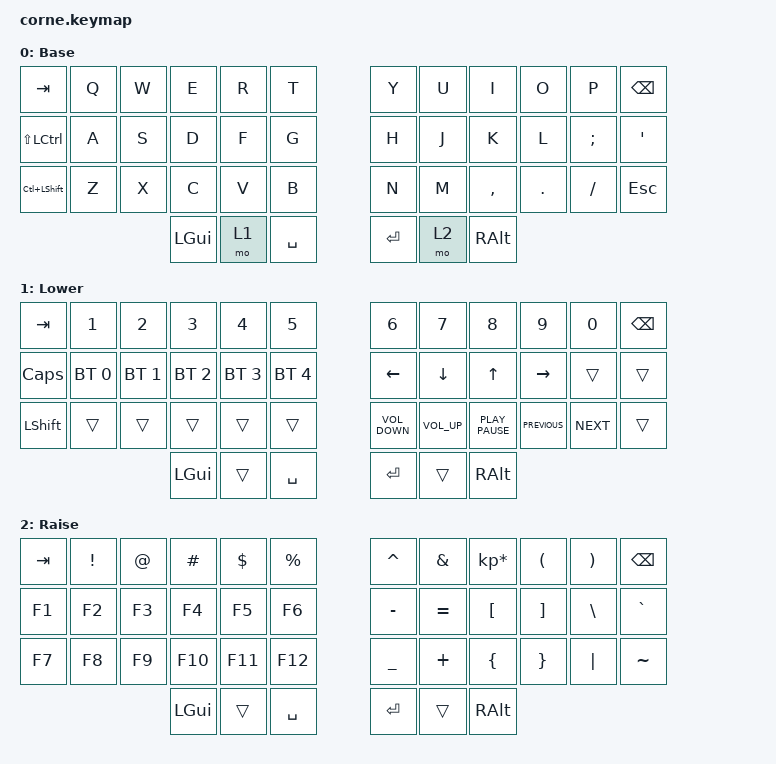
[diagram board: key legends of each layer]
/*
 * Copyright (c) 2020 The ZMK Contributors
 *
 * SPDX-License-Identifier: MIT
 */

#include <behaviors.dtsi>
#include <dt-bindings/zmk/bt.h>
#include <dt-bindings/zmk/keys.h>

/ {
    keymap {
        compatible = "zmk,keymap";

        default_layer {
            // -----------------------------------------------------------------------------------------
            // |  TAB |  Q  |  W  |  E  |  R  |  T  |   |  Y  |  U   |  I  |  O  |  P  | BKSP |
            // | CTRL |  A  |  S  |  D  |  F  |  G  |   |  H  |  J   |  K  |  L  |  ;  |  '   |
            // | SHFT |  Z  |  X  |  C  |  V  |  B  |   |  N  |  M   |  ,  |  .  |  /  | ESC  |
            //                    | GUI | LWR | SPC |   | ENT | RSE  | ALT |

            display-name = "Base";
            bindings = <
&kp TAB        &kp Q  &kp W  &kp E     &kp R  &kp T        &kp Y    &kp U  &kp I      &kp O    &kp P     &kp BSPC
&kp LS(LCTRL)  &kp A  &kp S  &kp D     &kp F  &kp G        &kp H    &kp J  &kp K      &kp L    &kp SEMI  &kp SQT
&kp LC(LSHFT)  &kp Z  &kp X  &kp C     &kp V  &kp B        &kp N    &kp M  &kp COMMA  &kp DOT  &kp FSLH  &kp ESC
                             &kp LGUI  &mo 1  &kp SPACE    &kp RET  &mo 2  &kp RALT
            >;
        };

        lower_layer {
            // -----------------------------------------------------------------------------------------
            // |  TAB |  1  |  2  |  3  |  4  |  5  |   |  6  |  7  |  8  |  9  |  0  | BKSP |
            // | BTCLR| BT1 | BT2 | BT3 | BT4 | BT5 |   | LFT | DWN |  UP | RGT |     |      |
            // | SHFT |     |     |     |     |     |   |     |     |     |     |     |      |
            //                    | GUI |     | SPC |   | ENT |     | ALT |

            display-name = "Lower";
            bindings = <
&kp TAB    &kp N1        &kp N2        &kp N3        &kp N4        &kp N5          &kp N6             &kp N7           &kp N8            &kp N9          &kp N0      &kp BSPC
&kp CAPS   &bt BT_SEL 0  &bt BT_SEL 1  &bt BT_SEL 2  &bt BT_SEL 3  &bt BT_SEL 4    &kp LEFT           &kp DOWN         &kp UP            &kp RIGHT       &trans      &trans
&kp LSHFT  &trans        &trans        &trans        &trans        &trans          &kp K_VOLUME_DOWN  &kp C_VOLUME_UP  &kp K_PLAY_PAUSE  &kp C_PREVIOUS  &kp C_NEXT  &trans
                                       &kp LGUI      &trans        &kp SPACE       &kp RET            &trans           &kp RALT
            >;
        };

        raise_layer {
            // -----------------------------------------------------------------------------------------
            // |  TAB |  !  |  @  |  #  |  $  |  %  |   |  ^  |  &  |  *  |  (  |  )  | BKSP |
            // | CTRL |     |     |     |     |     |   |  -  |  =  |  [  |  ]  |  \  |  `   |
            // | SHFT |     |     |     |     |     |   |  _  |  +  |  {  |  }  | "|" |  ~   |
            //                    | GUI |     | SPC |   | ENT |     | ALT |

            display-name = "Raise";
            bindings = <
&kp TAB  &kp EXCL  &kp AT  &kp HASH  &kp DLLR  &kp PRCNT    &kp CARET  &kp AMPS   &kp KP_MULTIPLY  &kp LPAR  &kp RPAR  &kp BSPC
&kp F1   &kp F2    &kp F3  &kp F4    &kp F5    &kp F6       &kp MINUS  &kp EQUAL  &kp LBKT         &kp RBKT  &kp BSLH  &kp GRAVE
&kp F7   &kp F8    &kp F9  &kp F10   &kp F11   &kp F12      &kp UNDER  &kp PLUS   &kp LBRC         &kp RBRC  &kp PIPE  &kp TILDE
                           &kp LGUI  &trans    &kp SPACE    &kp RET    &trans     &kp RALT
            >;
        };

        extra_1 { status = "reserved"; };

        extra_2 { status = "reserved"; };
    };

    conditional_layers {
        compatible = "zmk,conditional-layers";

        tercera {
            if-layers = <3>;
            then-layer = <3>;
        };
    };
};
